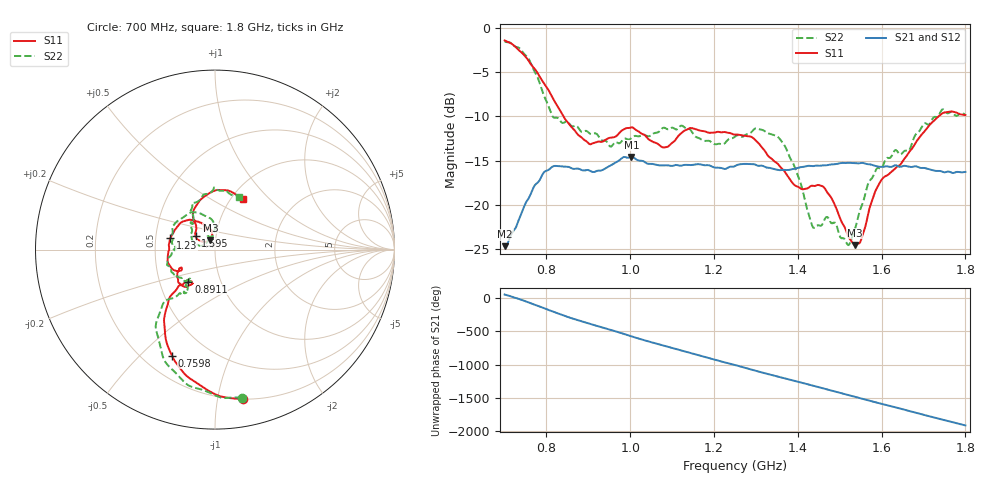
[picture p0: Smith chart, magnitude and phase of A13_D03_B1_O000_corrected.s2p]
! Created with skrf 1.9.0 (http://scikit-rf.org).
# Hz S RI R 50.0
!freq ReS11 ImS11 ReS21 ImS21 ReS12 ImS12 ReS22 ImS22
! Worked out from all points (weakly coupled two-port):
!   1601 points, 700 MHz to 1.8 GHz, reference 50 ohm
!   highest |S21| = -14.58 dB at 1.002 GHz (marker M1); lowest = -24.7 dB at 701.4 MHz (marker M2)
!   lowest |S11| = -24.5 dB at 1.535 GHz (marker M3), VSWR 1.13, Z = 47.3 + j5.09 ohm
!   |S11| at or under -10 dB: 840.2 MHz to 1.736 GHz (895.6 MHz wide, 69.5 % of centre)
!   |S22| runs from -24.5 to -1.5 dB; largest |S21 - S12| = 0.0036
!   S11 on the Smith chart (normalised r, x): 700 MHz: 0.20, -1.19; 759.8 MHz: 0.31, -0.63; 891.1 MHz: 0.70, -0.26; 1.23 GHz: 0.60, +0.08; 1.595 GHz: 0.80, +0.12; 1.8 GHz: 1.13, +0.71
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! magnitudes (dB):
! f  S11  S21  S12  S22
! 700 MHz  -1.4  -24.7  -24.4  -1.5
! 701.4 MHz  -1.5  -24.7  -24.3  -1.6
! 759.8 MHz  -3.9  -19.0  -18.9  -3.7
! 814.8 MHz  -7.9  -15.7  -15.7  -10.0
! 883.6 MHz  -12.4  -16.1  -15.9  -11.7
! 891.1 MHz  -12.7  -16.1  -16.1  -11.7
! 953 MHz  -12.4  -15.5  -15.5  -13.4
! 1.002 GHz  -11.2  -14.6  -14.7  -12.5
! 1.067 GHz  -13.2  -15.5  -15.5  -11.8
! 1.23 GHz  -11.8  -15.9  -15.8  -12.8
! 1.25 GHz  -12.1  -15.6  -15.5  -12.3
! 1.356 GHz  -15.6  -16.1  -16.0  -12.5
! 1.394 GHz  -17.8  -15.9  -15.9  -16.0
! 1.434 GHz  -17.8  -15.6  -15.6  -22.3
! 1.465 GHz  -18.2  -15.5  -15.5  -21.6
! 1.52 GHz  -23.5  -15.2  -15.3  -24.5
! 1.535 GHz  -24.5  -15.3  -15.3  -22.9
! 1.568 GHz  -20.9  -15.4  -15.4  -17.6
! 1.595 GHz  -17.5  -15.7  -15.7  -15.9
! 1.617 GHz  -16.5  -15.7  -15.6  -14.7
! 1.74 GHz  -9.8  -16.2  -16.2  -9.5
! 1.8 GHz  -9.8  -16.3  -16.3  -9.8
